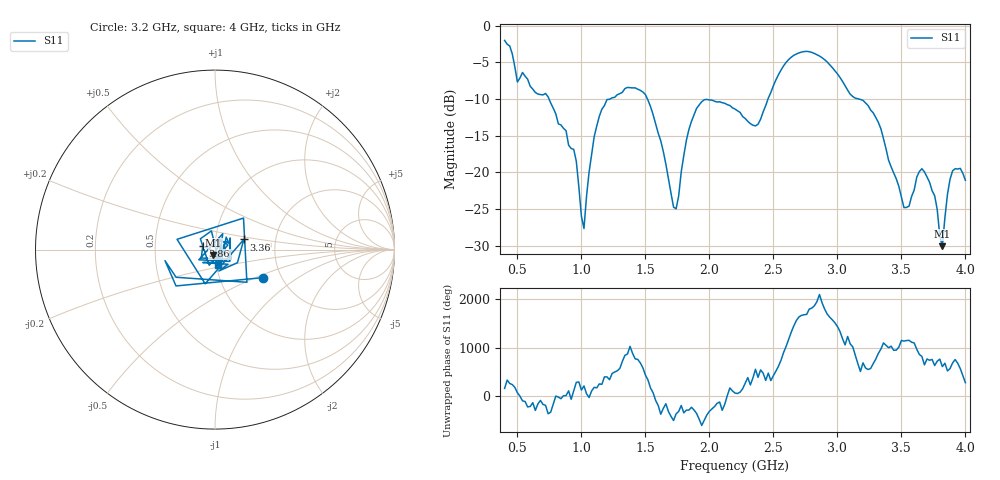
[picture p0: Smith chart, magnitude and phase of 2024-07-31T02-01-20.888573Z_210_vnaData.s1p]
!Created with skrf (http://scikit-rf.org).
# Hz S RI R 50.0
!freq ReS11 ImS11
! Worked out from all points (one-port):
!   181 points, 400 MHz to 4 GHz, reference 50 ohm
!   lowest |S11| = -30.0 dB at 3.82 GHz (marker M1), VSWR 1.06, Z = 49 - j2.95 ohm
!   |S11| at or under -10 dB: 747.1 MHz to 1.223 GHz (476.3 MHz wide, 48.3 % of centre); 1.516 GHz to 2.458 GHz (941.5 MHz wide, 47.4 % of centre); 3.169 GHz to end of sweep
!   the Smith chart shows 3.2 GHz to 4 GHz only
!   S11 on the Smith chart (normalised r, x): 3.2 GHz: 1.61, -0.56; 3.36 GHz: 1.37, +0.16; 3.86 GHz: 0.87, +0.04; 4 GHz: 1.02, -0.18
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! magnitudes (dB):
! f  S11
! 400 MHz  -2.0
! 500 MHz  -7.7
! 720 MHz  -9.2
! 860 MHz  -14.0
! 960 MHz  -18.5
! 1.02 GHz  -27.6
! 1.06 GHz  -20.0
! 1.14 GHz  -12.3
! 1.3 GHz  -9.3
! 1.5 GHz  -9.4
! 1.72 GHz  -24.7
! 1.76 GHz  -23.2
! 1.82 GHz  -15.6
! 1.9 GHz  -11.3
! 2.2 GHz  -11.4
! 2.38 GHz  -13.4
! 2.66 GHz  -4.0
! 2.88 GHz  -4.4
! 3.1 GHz  -9.3
! 3.2 GHz  -10.2
! 3.36 GHz  -15.4
! 3.56 GHz  -24.6
! 3.66 GHz  -19.5
! 3.76 GHz  -23.2
! 3.82 GHz  -30.0
! 3.86 GHz  -23.0
! 3.92 GHz  -19.5
! 4 GHz  -21.1
